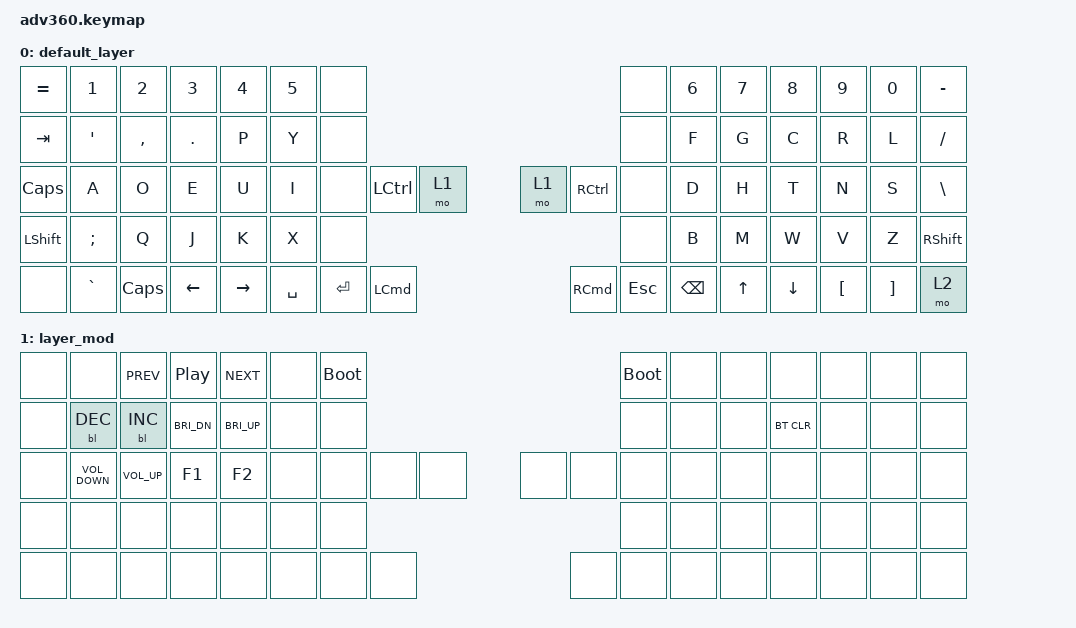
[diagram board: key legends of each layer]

/*
 * Copyright (c) 2020 The ZMK Contributors
 *
 * SPDX-License-Identifier: MIT
 */


/* THIS FILE WAS GENERATED!
 *
 * This file was generated automatically. You may or may not want to
 * edit it directly.
 */

#include <behaviors.dtsi>
#include <dt-bindings/zmk/keys.h>
#include <dt-bindings/zmk/backlight.h>
#include <dt-bindings/zmk/bt.h>

/ {
  behaviors {
    #include "macros.dtsi"
    #include "version.dtsi"

    hm: homerow_mods {
        compatible = "zmk,behavior-hold-tap";
        label = "HOMEROW_MODS";
        #binding-cells = <2>;
        tapping-term-ms = <200>;
        quick_tap_ms = <175>;
        flavor = "tap-preferred";
        bindings = <&kp>, <&kp>;
    };
  };

    keymap {
        compatible = "zmk,keymap";


        default_layer {
            bindings = <
    &kp EQUAL            &kp N1     &kp N2    &kp N3     &kp N4  &kp N5                &none                                                                                      &none  &kp N6  &kp N7    &kp N8    &kp N9    &kp N0      &kp MINUS
      &kp TAB  &kp SINGLE_QUOTE  &kp COMMA   &kp DOT      &kp P   &kp Y                &none                                                                                      &none   &kp F   &kp G     &kp C     &kp R     &kp L      &kp SLASH
 &kp CAPSLOCK             &kp A      &kp O     &kp E      &kp U   &kp I                &none  &kp LCTRL             &mo 1                              &mo 1   &kp RCTRL          &none   &kp D   &kp H     &kp T     &kp N     &kp S  &kp BACKSLASH
    &kp LSHFT     &kp SEMICOLON      &kp Q     &kp J      &kp K   &kp X                                             &none                              &none                              &kp B   &kp M     &kp W     &kp V     &kp Z      &kp RSHFT
        &none         &kp GRAVE   &kp CAPS  &kp LEFT  &kp RIGHT                    &kp SPACE  &kp ENTER  &kp LEFT_COMMAND                  &kp RIGHT_COMMAND  &kp ESCAPE  &kp BACKSPACE          &kp UP  &kp DOWN  &kp LBKT  &kp RBKT          &mo 2
            >;
        };

        layer_mod {
            bindings = <
  &none              &none    &kp C_PREV      &kp C_PP    &kp C_NEXT   &none            &bootloader                                                  &bootloader   &none   &none       &none   &none   &none   &none
  &none         &bl BL_DEC    &bl BL_INC  &kp C_BRI_DN  &kp C_BRI_UP   &none                  &none                                                        &none   &none   &none  &bt BT_CLR   &none   &none   &none
  &none  &kp C_VOLUME_DOWN  &kp C_VOL_UP        &kp F1        &kp F2   &none                  &none   &none   &none                   &none   &none        &none   &none   &none       &none   &none   &none   &none
  &none              &none         &none         &none         &none   &none                                  &none                   &none                        &none   &none       &none   &none   &none   &none
  &none              &none         &none         &none         &none                          &none   &none   &none                   &none   &none        &none           &none       &none   &none   &none   &none
            >;
        };

    };
};
